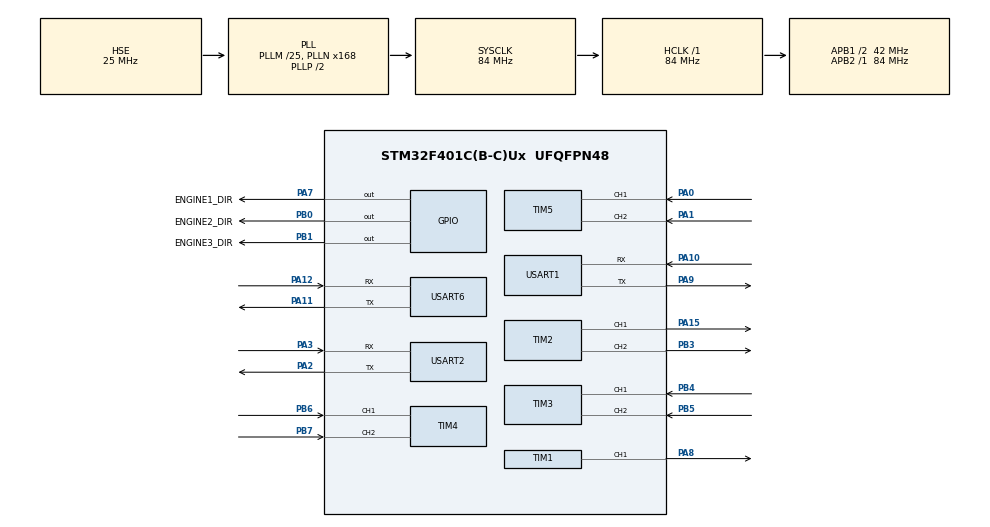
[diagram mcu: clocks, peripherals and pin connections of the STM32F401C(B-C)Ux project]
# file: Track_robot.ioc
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Dma.Request0=USART1_RX
Dma.Request1=USART1_TX
Dma.USART1_RX.0.Direction=DMA_PERIPH_TO_MEMORY
Dma.USART1_RX.0.FIFOMode=DMA_FIFOMODE_DISABLE
Dma.USART1_RX.0.Instance=DMA2_Stream2
Dma.USART1_RX.0.MemDataAlignment=DMA_MDATAALIGN_BYTE
Dma.USART1_RX.0.MemInc=DMA_MINC_ENABLE
Dma.USART1_RX.0.Mode=DMA_CIRCULAR
Dma.USART1_RX.0.PeriphDataAlignment=DMA_PDATAALIGN_BYTE
Dma.USART1_RX.0.PeriphInc=DMA_PINC_DISABLE
Dma.USART1_RX.0.Priority=DMA_PRIORITY_VERY_HIGH
Dma.USART1_TX.1.Direction=DMA_MEMORY_TO_PERIPH
Dma.USART1_TX.1.FIFOMode=DMA_FIFOMODE_DISABLE
Dma.USART1_TX.1.Instance=DMA2_Stream7
Dma.USART1_TX.1.MemDataAlignment=DMA_MDATAALIGN_BYTE
Dma.USART1_TX.1.MemInc=DMA_MINC_ENABLE
Dma.USART1_TX.1.Mode=DMA_NORMAL
Dma.USART1_TX.1.PeriphDataAlignment=DMA_PDATAALIGN_BYTE
Dma.USART1_TX.1.PeriphInc=DMA_PINC_DISABLE
Dma.USART1_TX.1.Priority=DMA_PRIORITY_VERY_HIGH
FREERTOS.Mutexes01=Synchronize_flag,Dynamic,NULL
FREERTOS.Tasks01=microROS,24,2000,microROSTask,Default,NULL,Dynamic,NULL,NULL;RobotProcess,24,128,Robot_processTask,Default,NULL,Dynamic,NULL,NULL;RestartTask,40,128,Restart_processTask,Default,NULL,Dynamic,NULL,NULL
FREERTOS.configENABLE_FPU=1
FREERTOS.configUSE_NEWLIB_REENTRANT=1
Mcu.Family=STM32F4
Mcu.Name=STM32F401C(B-C)Ux
Mcu.Package=UFQFPN48
NVIC.DMA2_Stream2_IRQn=true\:5\:0\:false\:false\:true\:true\:false\:true\:true
NVIC.DMA2_Stream7_IRQn=true\:5\:0\:false\:false\:true\:true\:false\:true\:true
NVIC.PriorityGroup=NVIC_PRIORITYGROUP_4
NVIC.TIM1_BRK_TIM9_IRQn=true\:5\:0\:false\:false\:true\:true\:true\:true\:true
NVIC.TIM1_UP_TIM10_IRQn=true\:5\:0\:false\:false\:true\:false\:false\:true\:true
NVIC.TimeBase=TIM1_UP_TIM10_IRQn
NVIC.TimeBaseIP=TIM10
NVIC.USART1_IRQn=true\:5\:0\:false\:false\:true\:true\:true\:true\:true
PA0-WKUP.Signal=S_TIM5_CH1
PA1.Signal=S_TIM5_CH2
PA10.Mode=Asynchronous
PA10.Signal=USART1_RX
PA11.Mode=Asynchronous
PA11.Signal=USART6_TX
PA12.Mode=Asynchronous
PA12.Signal=USART6_RX
PA13.Mode=Serial_Wire
PA13.Signal=SYS_JTMS-SWDIO
PA14.Mode=Serial_Wire
PA14.Signal=SYS_JTCK-SWCLK
PA15.Signal=S_TIM2_CH1_ETR
PA2.Mode=Asynchronous
PA2.Signal=USART2_TX
PA3.Mode=Asynchronous
PA3.Signal=USART2_RX
PA7.GPIO_Label=ENGINE1_DIR
PA7.Signal=GPIO_Output
PA8.Signal=S_TIM1_CH1
PA9.Mode=Asynchronous
PA9.Signal=USART1_TX
PB0.GPIO_Label=ENGINE2_DIR
PB0.Signal=GPIO_Output
PB1.GPIO_Label=ENGINE3_DIR
PB1.Signal=GPIO_Output
PB3.Signal=S_TIM2_CH2
PB4.Signal=S_TIM3_CH1
PB5.Signal=S_TIM3_CH2
PB6.Signal=S_TIM4_CH1
PB7.Signal=S_TIM4_CH2
PH0\ -\ OSC_IN.Mode=HSE-External-Oscillator
PH0\ -\ OSC_IN.Signal=RCC_OSC_IN
PH1\ -\ OSC_OUT.Mode=HSE-External-Oscillator
PH1\ -\ OSC_OUT.Signal=RCC_OSC_OUT
ProjectManager.HeapSize=0x200
ProjectManager.StackSize=0x400
ProjectManager.TargetToolchain=Makefile
RCC.48MHZClocksFreq_Value=42000000
RCC.AHBFreq_Value=84000000
RCC.APB1CLKDivider=RCC_HCLK_DIV2
RCC.APB1Freq_Value=42000000
RCC.APB1TimFreq_Value=84000000
RCC.APB2Freq_Value=84000000
RCC.APB2TimFreq_Value=84000000
RCC.CortexFreq_Value=84000000
RCC.HCLKFreq_Value=84000000
RCC.HSE_VALUE=25000000
RCC.HSI_VALUE=16000000
RCC.LSE_VALUE=32768
RCC.PLLM=25
RCC.PLLN=168
RCC.PLLSourceVirtual=RCC_PLLSOURCE_HSE
RCC.SYSCLKFreq_VALUE=84000000
RCC.SYSCLKSource=RCC_SYSCLKSOURCE_PLLCLK
RCC.VCOOutputFreq_Value=168000000
SH.S_TIM1_CH1.0=TIM1_CH1,PWM Generation1 CH1
SH.S_TIM2_CH1_ETR.0=TIM2_CH1,PWM Generation1 CH1
SH.S_TIM2_CH2.0=TIM2_CH2,PWM Generation2 CH2
SH.S_TIM3_CH1.0=TIM3_CH1,Encoder_Interface
SH.S_TIM3_CH2.0=TIM3_CH2,Encoder_Interface
SH.S_TIM4_CH1.0=TIM4_CH1,Encoder_Interface
SH.S_TIM4_CH2.0=TIM4_CH2,Encoder_Interface
SH.S_TIM5_CH1.0=TIM5_CH1,Encoder_Interface
SH.S_TIM5_CH2.0=TIM5_CH2,Encoder_Interface
TIM1.Channel-PWM\ Generation1\ CH1=TIM_CHANNEL_1
TIM2.Channel-PWM\ Generation1\ CH1=TIM_CHANNEL_1
TIM2.Channel-PWM\ Generation2\ CH2=TIM_CHANNEL_2
TIM9.Period=10000
TIM9.Prescaler=83
USART1.VirtualMode=VM_ASYNC
USART2.VirtualMode=VM_ASYNC
USART6.VirtualMode=VM_ASYNC
VP_FREERTOS_VS_CMSIS_V2.Mode=CMSIS_V2
VP_SYS_VS_tim10.Mode=TIM10
VP_TIM9_VS_ClockSourceITR.Mode=TriggerSource_ITR0
board=custom

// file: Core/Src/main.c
/* USER CODE BEGIN Header */
/**
  ******************************************************************************
  * @file           : main.c
  * @brief          : Main program body
  ******************************************************************************
  * @attention
  *
  * Copyright (c) 2023 STMicroelectronics.
  * All rights reserved.
  *
  * This software is licensed under terms that can be found in the LICENSE file
  * in the root directory of this software component.
  * If no LICENSE file comes with this software, it is provided AS-IS.
  *
  ******************************************************************************
  */
/* USER CODE END Header */
#include "main.h"
#include "cmsis_os.h"
#include "dma.h"
#include "tim.h"
#include "usart.h"
#include "gpio.h"

void SystemClock_Config(void);
void MX_FREERTOS_Init(void);

int main(void)
{
  /* MCU Configuration--------------------------------------------------------*/

  /* Reset of all peripherals, Initializes the Flash interface and the Systick. */
  HAL_Init();

  /* Configure the system clock */
  SystemClock_Config();

  /* Initialize all configured peripherals */
  MX_GPIO_Init();
  MX_DMA_Init();
  MX_USART1_UART_Init();
  MX_TIM1_Init();
  MX_TIM2_Init();
  MX_TIM3_Init();
  MX_TIM4_Init();
  MX_TIM5_Init();
  MX_USART2_UART_Init();
  MX_USART6_UART_Init();
  MX_TIM9_Init();

  /* Init scheduler */
  osKernelInitialize();  /* Call init function for freertos objects (in freertos.c) */
  MX_FREERTOS_Init();

  /* Start scheduler */
  osKernelStart();

  /* We should never get here as control is now taken by the scheduler */
  /* Infinite loop */
  while (1)
  {

  }
}

void SystemClock_Config(void)
{
  RCC_OscInitTypeDef RCC_OscInitStruct = {0};
  RCC_ClkInitTypeDef RCC_ClkInitStruct = {0};

  /** Configure the main internal regulator output voltage
  */
  __HAL_RCC_PWR_CLK_ENABLE();
  __HAL_PWR_VOLTAGESCALING_CONFIG(PWR_REGULATOR_VOLTAGE_SCALE2);

  /** Initializes the RCC Oscillators according to the specified parameters
  * in the RCC_OscInitTypeDef structure.
  */
  RCC_OscInitStruct.OscillatorType = RCC_OSCILLATORTYPE_HSE;
  RCC_OscInitStruct.HSEState = RCC_HSE_ON;
  RCC_OscInitStruct.PLL.PLLState = RCC_PLL_ON;
  RCC_OscInitStruct.PLL.PLLSource = RCC_PLLSOURCE_HSE;
  RCC_OscInitStruct.PLL.PLLM = 25;
  RCC_OscInitStruct.PLL.PLLN = 168;
  RCC_OscInitStruct.PLL.PLLP = RCC_PLLP_DIV2;
  RCC_OscInitStruct.PLL.PLLQ = 4;
  if (HAL_RCC_OscConfig(&RCC_OscInitStruct) != HAL_OK)
  {
    Error_Handler();
  }

  /** Initializes the CPU, AHB and APB buses clocks
  */
  RCC_ClkInitStruct.ClockType = RCC_CLOCKTYPE_HCLK|RCC_CLOCKTYPE_SYSCLK
                              |RCC_CLOCKTYPE_PCLK1|RCC_CLOCKTYPE_PCLK2;
  RCC_ClkInitStruct.SYSCLKSource = RCC_SYSCLKSOURCE_PLLCLK;
  RCC_ClkInitStruct.AHBCLKDivider = RCC_SYSCLK_DIV1;
  RCC_ClkInitStruct.APB1CLKDivider = RCC_HCLK_DIV2;
  RCC_ClkInitStruct.APB2CLKDivider = RCC_HCLK_DIV1;

  if (HAL_RCC_ClockConfig(&RCC_ClkInitStruct, FLASH_LATENCY_2) != HAL_OK)
  {
    Error_Handler();
  }
}

void HAL_TIM_PeriodElapsedCallback(TIM_HandleTypeDef *htim)
{
  if (htim->Instance == TIM10) {
    HAL_IncTick();
  }
}

void Error_Handler(void)
{
  __disable_irq();
  while (1)
  {
  }
}

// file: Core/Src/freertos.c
/* USER CODE BEGIN Header */
/**
  ******************************************************************************
  * File Name          : freertos.c
  * Description        : Code for freertos applications
  ******************************************************************************
  * @attention
  *
  * Copyright (c) 2023 STMicroelectronics.
  * All rights reserved.
  *
  * This software is licensed under terms that can be found in the LICENSE file
  * in the root directory of this software component.
  * If no LICENSE file comes with this software, it is provided AS-IS.
  *
  ******************************************************************************
  */
/* USER CODE END Header */

#include "FreeRTOS.h"
#include "task.h"
#include "main.h"
#include "cmsis_os.h"

/* USER CODE BEGIN Includes */
#include "usart.h"
#include <stdbool.h>

#include <rcl/rcl.h>
#include <rcl/error_handling.h>
#include <rclc/rclc.h>
#include <rclc/executor.h>
#include <uxr/client/transport.h>
#include <rmw_microxrcedds_c/config.h>
#include <rmw_microros/rmw_microros.h>

#include <geometry_msgs/msg/Twist.h>
#include <diagnostic_msgs/msg/diagnostic_array.h>
#include <nav_msgs/msg/odometry.h>

#include "kinematics.h"
/* USER CODE END Includes */

/* USER CODE BEGIN PTD */
static struct {
	/*---------------------ROBOT-GENERAL-------------------------*/
	uint8_t start_flag;
	float target_left_crawler_speed;
	float target_right_crawler_speed;
	float target_skis_angle;
	Kinematic_t kinematic;
	Engine_t engines;
	/*---------------------ROBOT-SENSORS-------------------------*/
	Encoder_t left_crawler_encoder;
	Encoder_t right_crawler_encoder;
	Encoder_t skis_crawler_encoder;
	/*---------------------ROBOT-ERROR-FLAGS---------------------*/
	uint8_t error_count;
	uint8_t emergency_flag;
	/*---------------------ROBOT-PID-----------------------------*/
	Regulator_t regulator;
	/*---------------------ROS TIME SYNC-------------------------*/
	int64_t time_ms;
	int64_t time_ns;
	/*---------------------ROS OBJECTS---------------------------*/
	rcl_allocator_t allocator;
	rcl_publisher_t diagnostic_publisher;
	rcl_subscription_t geometry_subscriber;
	rcl_publisher_t odometry_publisher;
	rclc_support_t support;
	rcl_node_t node;
	rclc_executor_t executor;
	/*---------------------MESSAGES---------------------------*/
	nav_msgs__msg__Odometry odometry_msg;
	diagnostic_msgs__msg__DiagnosticArray diagnostic_msg;
	geometry_msgs__msg__Twist geometry_msg;
	/*--------------------ROS OTHER OBJECTS-------------------*/
	rcl_ret_t ret;
}robot;
/* USER CODE END PTD */

/* USER CODE BEGIN PM */
#define RCCHECK(fn) { rcl_ret_t temp_rc = fn; if((temp_rc != RCL_RET_OK)){robot.start_flag = 0; return false;}}
#define MICRO_ROS_ALLOCATE	do { \
		rmw_uros_set_custom_transport(\
			true,\
			(void *) &huart1,\
			cubemx_transport_open,\
			cubemx_transport_close,\
			cubemx_transport_write,\
			cubemx_transport_read);\
		rcl_allocator_t freeRTOS_allocator = rcutils_get_zero_initialized_allocator();\
		freeRTOS_allocator.allocate = microros_allocate;\
		freeRTOS_allocator.deallocate = microros_deallocate;\
		freeRTOS_allocator.reallocate = microros_reallocate;\
		freeRTOS_allocator.zero_allocate =  microros_zero_allocate;\
		if (!rcutils_set_default_allocator(&freeRTOS_allocator)) { robot.start_flag = 0; xTaskNotifyGive(RestartTaskHandle); }\
} while(0)
/* USER CODE END PM */

/* Definitions for microROS */
osThreadId_t microROSHandle;
const osThreadAttr_t microROS_attributes = {
  .name = "microROS",
  .stack_size = 2000 * 4,
  .priority = (osPriority_t) osPriorityNormal,
};
/* Definitions for RobotProcess */
osThreadId_t RobotProcessHandle;
const osThreadAttr_t RobotProcess_attributes = {
  .name = "RobotProcess",
  .stack_size = 128 * 4,
  .priority = (osPriority_t) osPriorityNormal,
};
/* Definitions for RestartTask */
osThreadId_t RestartTaskHandle;
const osThreadAttr_t RestartTask_attributes = {
  .name = "RestartTask",
  .stack_size = 128 * 4,
  .priority = (osPriority_t) osPriorityHigh,
};
/* Definitions for Synchronize_flag */
osMutexId_t Synchronize_flagHandle;
const osMutexAttr_t Synchronize_flag_attributes = {
  .name = "Synchronize_flag"
};

/* USER CODE BEGIN FunctionPrototypes */
static void regulator_init(void);
static void kinematic_init(void);
static void engines_init(void);
static void sensors_init(void);
static void regulator_calc(PID_parameters_t *param);
static void regulator_get_data(PID_parameters_t *param);
static void regulator_on(PID_parameters_t *pid);
static void regulator_off(PID_parameters_t *pid);
static void set_voltage(Engine_parameters_t engine, double duty);
static bool ros_init(void);
static void ros_deinit(void);
static void ros_process(void);
static void ros_sync(void);
static void ros_diagnostic_process(void);

static void subscription_callback(const void* msgin);

bool cubemx_transport_open(struct uxrCustomTransport * transport);
bool cubemx_transport_close(struct uxrCustomTransport * transport);
size_t cubemx_transport_write(struct uxrCustomTransport* transport, const uint8_t * buf, size_t len, uint8_t * err);
size_t cubemx_transport_read(struct uxrCustomTransport* transport, uint8_t* buf, size_t len, int timeout, uint8_t* err);

void * microros_allocate(size_t size, void * state);
void microros_deallocate(void * pointer, void * state);
void * microros_reallocate(void * pointer, size_t size, void * state);
void * microros_zero_allocate(size_t number_of_elements, size_t size_of_element, void * state);

static inline void general_init(void)
{
	regulator_init();
	kinematic_init();
	engines_init();
	sensors_init();
}
/* USER CODE END FunctionPrototypes */

void microROSTask(void *argument);
void Robot_processTask(void *argument);
void Restart_processTask(void *argument);

void MX_FREERTOS_Init(void); /* (MISRA C 2004 rule 8.1) */

void MX_FREERTOS_Init(void) {
  /* Create the mutex(es) */
  /* creation of Synchronize_flag */
  Synchronize_flagHandle = osMutexNew(&Synchronize_flag_attributes);

  /* Create the thread(s) */
  /* creation of microROS */
  microROSHandle = osThreadNew(microROSTask, NULL, &microROS_attributes);

  /* creation of RobotProcess */
  RobotProcessHandle = osThreadNew(Robot_processTask, NULL, &RobotProcess_attributes);

  /* creation of RestartTask */
  RestartTaskHandle = osThreadNew(Restart_processTask, NULL, &RestartTask_attributes);

  /* USER CODE BEGIN RTOS_EVENTS */
  general_init();
  /* add events, ... */
  /* USER CODE END RTOS_EVENTS */

}

void microROSTask(void *argument)
{
  /* USER CODE BEGIN microROSTask */
  /* Infinite loop */
	MICRO_ROS_ALLOCATE;
	bool state = ros_init();
	if(state != true) xTaskNotifyGive(RestartTaskHandle);
	/*!
	 * @info ROS application:
	 * 	1) Ping agent
	 * 	2)
	 */
	for(;;)
	{
		if(robot.start_flag == 1)
		{
			ros_sync();
			ros_process();
			ros_diagnostic_process();
		} else xTaskNotifyGive(RestartTaskHandle);
	}
  /* USER CODE END microROSTask */
}

void Robot_processTask(void *argument)
{
  /* USER CODE BEGIN Robot_processTask */
  /* Infinite loop */
  for(;;)
  {
	 if(robot.start_flag == 1)
	 {
		 robot.kinematic.inverse(robot.kinematic.crawler);
	 }
  }
  /* USER CODE END Robot_processTask */
}

void Restart_processTask(void *argument)
{
  /* USER CODE BEGIN Restart_processTask */
  /* Infinite loop */
  for(;;)
  {
	ulTaskNotifyTake(1, portMAX_DELAY);
	if(robot.start_flag == 0)
	{
		HAL_NVIC_SystemReset();
	}
  }
  /* USER CODE END Restart_processTask */
}

/* USER CODE BEGIN Application */
static void regulator_init(void)
{
	robot.regulator.speed_left_regulator.p_k = 1.0;
	robot.regulator.speed_left_regulator.i_k = 0.0;
	robot.regulator.speed_left_regulator.d_k = 0.0;

	robot.regulator.speed_right_regulator.p_k = 1.0;
	robot.regulator.speed_right_regulator.i_k = 0.0;
	robot.regulator.speed_right_regulator.d_k = 0.0;

	robot.regulator.track_regulator.p_k = 1.0;
	robot.regulator.track_regulator.i_k = 0.0;
	robot.regulator.track_regulator.d_k = 0.0;

	robot.regulator.speed_left_regulator.error_end = 0.01;
	robot.regulator.speed_left_regulator.prev_error = 0.00;
	robot.regulator.speed_left_regulator.sum_error = 0.00;
	robot.regulator.speed_left_regulator.error = 0.00;
	robot.regulator.speed_left_regulator.current = 0.00;
	robot.regulator.speed_left_regulator.target = 0.00;
	robot.regulator.speed_left_regulator.max_error = 5.0;
	robot.regulator.speed_left_regulator.min_error = 0.01;
	robot.regulator.speed_left_regulator.pid_on = 0;
	robot.regulator.speed_left_regulator.pid_finish = 0;

	robot.regulator.speed_right_regulator.error_end = 0.01;
	robot.regulator.speed_right_regulator.prev_error = 0.00;
	robot.regulator.speed_right_regulator.sum_error = 0.00;
	robot.regulator.speed_right_regulator.error = 0.00;
	robot.regulator.speed_right_regulator.current = 0.00;
	robot.regulator.speed_right_regulator.target = 0.00;
	robot.regulator.speed_right_regulator.max_error = 5.0;
	robot.regulator.speed_right_regulator.min_error = 0.01;
	robot.regulator.speed_right_regulator.pid_on = 0;
	robot.regulator.speed_right_regulator.pid_finish = 0;

	robot.regulator.track_regulator.error_end = 0.01;
	robot.regulator.track_regulator.prev_error = 0.00;
	robot.regulator.track_regulator.sum_error = 0.00;
	robot.regulator.track_regulator.error = 0.00;
	robot.regulator.track_regulator.current = 0.00;
	robot.regulator.track_regulator.target = 0.00;
	robot.regulator.track_regulator.max_error = 5.0;
	robot.regulator.track_regulator.min_error = 0.01;
	robot.regulator.track_regulator.pid_on = 0;
	robot.regulator.track_regulator.pid_finish = 0;

	robot.regulator.get_new_data = &regulator_get_data;
	robot.regulator.step = &regulator_calc;
	robot.regulator.on = &regulator_on;
	robot.regulator.off = &regulator_off;
}

static void kinematic_init(void)
{
	robot.kinematic.crawler.target_moving[0] = 0.00;
	robot.kinematic.crawler.target_moving[1] = 0.00;
	robot.kinematic.crawler.target_moving[2] = 0.00;
	robot.kinematic.inverse = &reverse_kinematic;
	robot.kinematic.direct = &direct_kinematic;
	robot.kinematic.set = &set_kinematic_target;
}

static void engines_init(void)
{
	robot.engines.left_crawler_engine.period = &TIM2->ARR;
	robot.engines.left_crawler_engine.pwm = &TIM2->CCR1;
	robot.engines.left_crawler_engine.GPIOx = ENGINE1_DIR_GPIO_Port;
	robot.engines.left_crawler_engine.GPIO_Pin = ENGINE1_DIR_Pin;

	robot.engines.right_crawler_engine.period = &TIM2->ARR;
	robot.engines.right_crawler_engine.pwm = &TIM2->CCR2;
	robot.engines.right_crawler_engine.GPIOx = ENGINE2_DIR_GPIO_Port;
	robot.engines.right_crawler_engine.GPIO_Pin = ENGINE2_DIR_Pin;

	robot.engines.skis_crawler_engine.period = &TIM1->ARR;
	robot.engines.skis_crawler_engine.pwm = &TIM1->CCR1;
	robot.engines.skis_crawler_engine.GPIOx = ENGINE3_DIR_GPIO_Port;
	robot.engines.skis_crawler_engine.GPIO_Pin = ENGINE3_DIR_Pin;

	robot.engines.set_voltage = &set_voltage;
}

static void sensors_init(void)
{
	robot.left_crawler_encoder.counter = &TIM3->CNT;
	robot.right_crawler_encoder.counter = &TIM4->CNT;
	robot.skis_crawler_encoder.counter = &TIM5->CNT;

	robot.left_crawler_encoder.distanse = 0.00;
	robot.left_crawler_encoder.line_speed = 0.00;
	robot.left_crawler_encoder.encoder_data = 0;

	robot.right_crawler_encoder.distanse = 0.00;
	robot.right_crawler_encoder.line_speed = 0.00;
	robot.right_crawler_encoder.encoder_data = 0;

	robot.skis_crawler_encoder.distanse = 0.00;
	robot.skis_crawler_encoder.line_speed = 0.00;
	robot.skis_crawler_encoder.encoder_data = 0;
}

static void regulator_calc(PID_parameters_t *param)
{
	if(param->pid_on)
	{

	}

}

static void regulator_get_data(PID_parameters_t *param)
{

}

static void regulator_on(PID_parameters_t *pid)
{
	pid->pid_on = 1;
}

static void regulator_off(PID_parameters_t *pid)
{
	pid->pid_on = 0;
	pid->error = 0.00;
	pid->output = 0.00;
	pid->sum_error = 0.00;
	pid->target = 0.00;
	pid->prev_error = 0.00;
}

void subscription_callback(const void* msgin)
{
	const geometry_msgs__msg__Twist * msg = (geometry_msgs__msg__Twist *)msgin;
	robot.geometry_msg = *msg;
}

/*!
 * ROS_sync(void) - synchronization with micro-ROS agent
 *
 */
static void ros_sync(void)
{
	const int timeout_ms = 100;
	const uint8_t attempts = 1;

	rmw_ret_t ping_result = rmw_uros_ping_agent(timeout_ms, attempts);

	if(RMW_RET_OK != ping_result)
	{
		robot.start_flag = 0;
		xTaskNotifyGive(RestartTaskHandle);
	} else robot.start_flag = 1;
}

static void ros_process(void)
{
	robot.odometry_msg.pose.pose.position.x = 0.2;
	robot.odometry_msg.pose.pose.position.y = 0.2;
	robot.odometry_msg.pose.pose.position.z = 0.2;
    robot.ret = rcl_publish(&robot.odometry_publisher, &robot.odometry_msg, NULL);
    rclc_executor_spin_some(
      &robot.executor,
	  RCL_MS_TO_NS(25));
}

static void ros_diagnostic_process(void)
{
	const int timeout_ms = 50;
	rmw_uros_sync_session(timeout_ms);
	if(rmw_uros_epoch_synchronized())
	{
		robot.time_ms = rmw_uros_epoch_millis();
		robot.time_ns = rmw_uros_epoch_nanos();

		robot.diagnostic_msg.header.stamp.sec = (int32_t)(robot.time_ms / 1000);
		robot.diagnostic_msg.header.stamp.nanosec = (uint32_t)(robot.time_ns);
		robot.diagnostic_msg.header.frame_id.data = "[CRAWLER:GENERAL] NO ERRORS";
		robot.ret = rcl_publish(&robot.diagnostic_publisher, &robot.diagnostic_msg, NULL);
	}
}

static bool ros_init(void)
{
	  // micro-ROS app
	  if(RMW_RET_OK != rmw_uros_ping_agent(100, 1)) return false;
	  //create init_options
	  RCCHECK(rclc_support_init(&robot.support, 0, NULL, &allocator));

	  // create node
	  RCCHECK(rclc_node_init_default(&robot.node, "CrawlerBot_node", "", &robot.support));

	  // create publisher
	  RCCHECK(rclc_publisher_init_default(
					&robot.diagnostic_publisher,
					&robot.node,
					ROSIDL_GET_MSG_TYPE_SUPPORT(diagnostic_msgs, msg, DiagnosticArray),
					"CrawlerBot/diagnostic"));

	  RCCHECK(rclc_publisher_init_default(
					&robot.odometry_publisher,
					&robot.node,
					ROSIDL_GET_MSG_TYPE_SUPPORT(nav_msgs, msg, Odometry),
					"CrawlerBot/odometry"));

	  RCCHECK(rclc_subscription_init_default(
					&robot.geometry_subscriber,
					&robot.node,
					ROSIDL_GET_MSG_TYPE_SUPPORT(geometry_msgs, msg, Twist),
					"CrawlerBot/twist"));

	  robot.executor = rclc_executor_get_zero_initialized_executor();
	  RCCHECK(rclc_executor_init(
			  	    &robot.executor,
					&robot.support.context,
					1,
					&robot.allocator));

	  RCCHECK(rclc_executor_add_subscription(
				    &robot.executor,
				    &robot.geometry_subscriber,
				    &robot.geometry_msg,
				    &subscription_callback,
				    ON_NEW_DATA));
	  robot.start_flag = 1;
	  return true;
}

static void ros_deinit(void)
{
	  rmw_context_t * rmw_context = rcl_context_get_rmw_context(&robot.support.context);
	  (void) rmw_uros_set_context_entity_destroy_session_timeout(rmw_context, 0);

	  robot.ret = rcl_publisher_fini(&robot.diagnostic_publisher, &robot.node);
	  robot.ret = rcl_publisher_fini(&robot.odometry_publisher, &robot.node);
	  rclc_executor_fini(&robot.executor);
	  robot.ret = rcl_subscription_fini(&robot.geometry_subscriber, &robot.node);
	  robot.ret = rcl_node_fini(&robot.node);
	  rclc_support_fini(&robot.support);
}

static void set_voltage(Engine_parameters_t engine, double duty)
{
	if(duty > 1.0) duty = 1.0;
	if(duty < -1.0) duty = -1.0;
	if(duty >= 0.0)
	{
		*engine.pwm = (int32_t)(duty * (*engine.period));
		HAL_GPIO_WritePin(engine.GPIOx, engine.GPIO_Pin, GPIO_PIN_RESET);
	} else
	{
		*engine.pwm = (int32_t)(duty + (duty * (*engine.period)));
		HAL_GPIO_WritePin(engine.GPIOx, engine.GPIO_Pin, GPIO_PIN_SET);
	}
}
/* USER CODE END Application */
